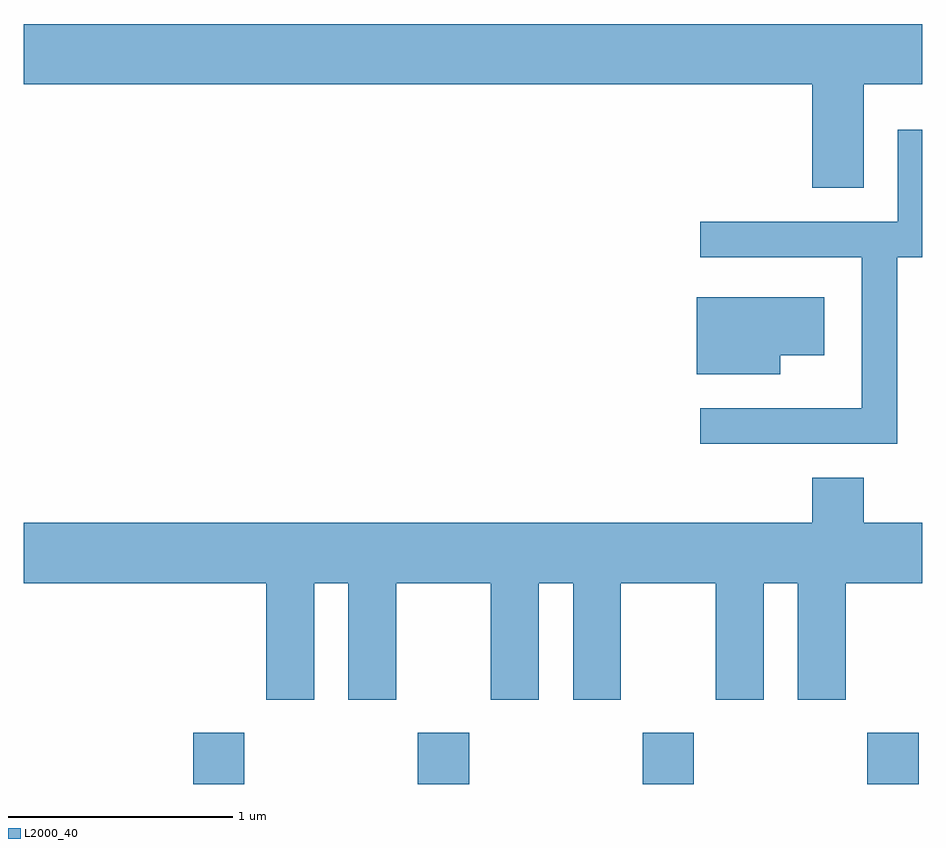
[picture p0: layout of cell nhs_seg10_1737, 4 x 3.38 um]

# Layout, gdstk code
import gdstk
lib = gdstk.Library(unit=1e-6, precision=1e-09)
def R(c, l, rs):  # rectangles x0, y0, x1, y1
    for r in rs: c.add(gdstk.rectangle(r[:2], r[2:], *l))
def A(c, l, x, y, w, h, nx, ny, dx, dy):  # array of equal rectangles
    R(c, l, [(x+i*dx, y+j*dy, x+i*dx+w, y+j*dy+h) for i in range(nx) for j in range(ny)])
def P(c, l, *ps):  # polygons
    for p in ps: c.add(gdstk.Polygon(p, *l))
L2000_40 = (2000, 40)

nhs_seg10_1737 = lib.new_cell('nhs_seg10_1737')
A(nhs_seg10_1737, L2000_40, 236.366, 2168.522, 0.228, 0.227, 4, 1, 1, 0)
P(nhs_seg10_1737, L2000_40, [(239.349,2171.636),(239.611,2171.636),(239.611,2171.904),(235.611,2171.904),(235.611,2171.636),(239.121,2171.636),(239.121,2171.176),(239.349,2171.176)],
  [(239.499,2170.866),(239.611,2170.866),(239.611,2171.434),(239.501,2171.434),(239.501,2171.024),(238.623,2171.024),(238.623,2170.866),(239.341,2170.866),(239.341,2170.194),(238.623,2170.194),(238.623,2170.036),(239.499,2170.036)],
  [(238.979,2170.431),(239.174,2170.431),(239.174,2170.689),(238.606,2170.689),(238.606,2170.346),(238.979,2170.346)],
  [(236.904,2169.416),(237.056,2169.416),(237.056,2168.896),(237.269,2168.896),(237.269,2169.416),(237.691,2169.416),(237.691,2168.896),(237.904,2168.896),(237.904,2169.416),(238.056,2169.416),(238.056,2168.896),(238.269,2168.896),(238.269,2169.416),(238.691,2169.416),(238.691,2168.896),(238.904,2168.896),(238.904,2169.416),(239.056,2169.416),(239.056,2168.896),(239.269,2168.896),(239.269,2169.416),(239.611,2169.416),(239.611,2169.684),(239.349,2169.684),(239.349,2169.884),(239.121,2169.884),(239.121,2169.684),(235.611,2169.684),(235.611,2169.416),(236.691,2169.416),(236.691,2168.896),(236.904,2168.896)])

lib.write_gds('nhs_seg10_1737.gds')
